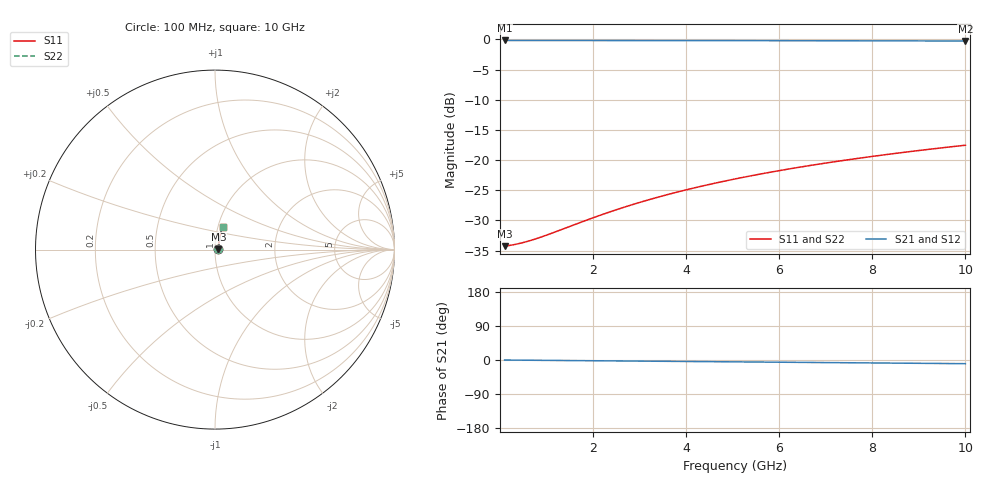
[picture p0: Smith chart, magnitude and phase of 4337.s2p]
# Hz S RI R 50.00
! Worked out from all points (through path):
!   100 points, 100 MHz to 10 GHz, reference 50 ohm
!   highest |S21| = -0.17 dB at 100 MHz (marker M1); lowest = -0.3 dB at 10 GHz (marker M2)
!   group delay of S21, straight-line fit = 2.69 ps
!   lowest |S11| = -34.3 dB at 100 MHz (marker M3), VSWR 1.04, Z = 52 + j0.134 ohm
!   |S11| at or under -10 dB: start of sweep to end of sweep
!   |S22| runs from -34.3 to -17.5 dB; largest |S21 - S12| = 0
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1e8  0.0193 0.00129  0.9807 -0.00166  0.9807 -0.00166  0.0193 0.00129
3e8  0.0195 0.00387  0.9805 -0.00499  0.9805 -0.00499  0.0195 0.00387
4e8  0.0196 0.00516  0.9804 -0.00665  0.9804 -0.00665  0.0196 0.00516
5e8  0.0197 0.00645  0.9803 -0.00831  0.9803 -0.00831  0.0197 0.00645
7e8  0.0198 0.00902  0.9802 -0.0116  0.9802 -0.0116  0.0198 0.00902
9e8  0.02 0.0116  0.98 -0.0149  0.98 -0.0149  0.02 0.0116
1.1e9  0.0202 0.0142  0.9798 -0.0183  0.9798 -0.0183  0.0202 0.0142
1.8e9  0.0208 0.0232  0.9792 -0.0299  0.9792 -0.0299  0.0208 0.0232
2.2e9  0.0212 0.0283  0.9787 -0.0365  0.9787 -0.0365  0.0212 0.0283
2.6e9  0.0217 0.0334  0.9782 -0.0431  0.9782 -0.0431  0.0217 0.0334
3e9  0.0223 0.0385  0.9776 -0.0497  0.9776 -0.0497  0.0223 0.0385
3.4e9  0.0229 0.0437  0.977 -0.0563  0.977 -0.0563  0.0229 0.0437
3.8e9  0.0236 0.0488  0.9763 -0.0629  0.9763 -0.0629  0.0236 0.0488
4.2e9  0.0243 0.0538  0.9755 -0.0695  0.9755 -0.0695  0.0243 0.0538
4.6e9  0.0251 0.0589  0.9747 -0.0761  0.9747 -0.0761  0.0251 0.0589
5.1e9  0.0262 0.0652  0.9735 -0.0843  0.9735 -0.0843  0.0262 0.0652
5.9e9  0.0282 0.0753  0.9715 -0.0973  0.9715 -0.0973  0.0282 0.0753
6.7e9  0.0305 0.0853  0.9692 -0.1103  0.9692 -0.1103  0.0305 0.0853
7.5e9  0.033 0.0953  0.9666 -0.1233  0.9666 -0.1233  0.033 0.0953
8.4e9  0.0362 0.1063  0.9633 -0.1377  0.9633 -0.1377  0.0362 0.1063
9.2e9  0.0392 0.1161  0.9601 -0.1505  0.9601 -0.1505  0.0392 0.1161
1e10  0.0426 0.1257  0.9567 -0.1631  0.9567 -0.1631  0.0426 0.1257
